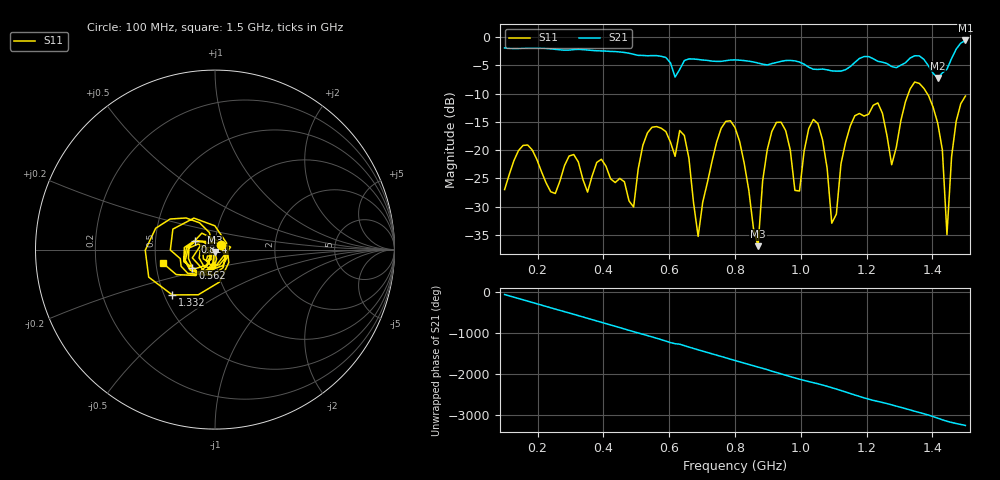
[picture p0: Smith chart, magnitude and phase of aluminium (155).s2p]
! NanoVNA-App
! Date: 2025-09-25 14:56:29
! Start: 100MHz Stop: 1,5GHz Points: 101
! S-Parameter data: F S11 S21 S12 S22
# Hz S RI R 50
!  Frequency  S11_Real  S11_Imag  S21_Real  S21_Imag  S12_Real  S12_Imag  S22_Real  S22_Imag
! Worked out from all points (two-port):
!   101 points, 100 MHz to 1.5 GHz, reference 50 ohm
!   highest |S21| = -0.61 dB at 1.5 GHz (marker M1); lowest = -7.2 dB at 1.416 GHz (marker M2)
!   |S21| within 3 dB of the highest: start of sweep to 588.8 MHz; 1.46 GHz to end of sweep (the widest 2 of 4)
!   lowest |S11| = -37.0 dB at 870 MHz (marker M3), VSWR 1.03, Z = 49.8 - j1.39 ohm
!   |S11| at or under -10 dB: start of sweep to 1.327 GHz; 1.384 GHz to end of sweep
!   S12 and S22 are empty: the file has one direction only
!   S11 on the Smith chart (normalised r, x): 100 MHz: 1.07, +0.06; 562 MHz: 0.76, -0.16; 814 MHz: 0.80, +0.07; 1.332 GHz: 0.55, -0.32; 1.5 GHz: 0.54, -0.09
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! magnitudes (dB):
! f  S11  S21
! 100 MHz  -27.0  -1.9
! 338 MHz  -25.2  -2.2
! 492 MHz  -30.1  -3.1
! 562 MHz  -15.9  -3.3
! 576 MHz  -16.1  -3.4
! 646 MHz  -17.4  -4.2
! 688 MHz  -35.3  -4.0
! 800 MHz  -16.0  -4.0
! 814 MHz  -18.5  -4.1
! 870 MHz  -37.0  -4.6
! 912 MHz  -16.7  -4.7
! 996 MHz  -27.3  -4.4
! 1.038 GHz  -14.6  -5.7
! 1.094 GHz  -33.0  -6.0
! 1.164 GHz  -13.9  -4.5
! 1.234 GHz  -11.7  -4.3
! 1.276 GHz  -22.6  -5.2
! 1.332 GHz  -9.2  -3.7
! 1.416 GHz  -15.3  -7.2
! 1.444 GHz  -35.0  -5.7
! 1.472 GHz  -14.9  -2.1
! 1.5 GHz  -10.4  -0.6
